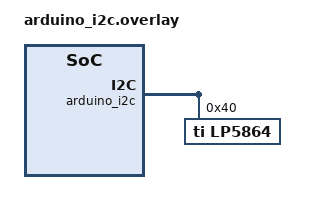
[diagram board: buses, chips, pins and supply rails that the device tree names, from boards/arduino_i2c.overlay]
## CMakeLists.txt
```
# SPDX-License-Identifier: Apache-2.0

cmake_minimum_required(VERSION 3.28.0)

find_package(Zephyr REQUIRED HINTS $ENV{ZEPHYR_BASE})
project(led_lp586x)

target_sources(app PRIVATE src/main.c)
```

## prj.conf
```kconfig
CONFIG_LOG=y
CONFIG_LED=y

CONFIG_SHELL=y
CONFIG_LED_SHELL=y
CONFIG_I2C_SHELL=y
```

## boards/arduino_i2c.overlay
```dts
/*
 * SPDX-FileCopyrightText: Copyright (c) 2026 Draeger
 *
 * SPDX-License-Identifier: Apache-2.0
 */

/*
 * Example overlay for an LP5864 (4 scan lines × 18 sinks, 72 LED dots)
 * connected to the Arduino-compatible I2C bus.
 *
 * The LP586x I2C address depends on hardware ADDR pin configuration.
 * The 7-bit address format is [CA4:CA0][RA9:RA8] where CA[4:0] is set by
 * the ADDR pins and RA[9:8] selects the register page (00 for page 0).
 * Adjust the 'reg' value to match your hardware wiring.
 *
 * This example uses reg = <0x40>, corresponding to CA[4:0] = 0b10000.
 */

#include <zephyr/dt-bindings/led/led.h>

&arduino_i2c {
	lp5864@40 {
		compatible = "ti,lp5864";
		reg = <0x40>;

		led_0 {
			label = "LED LP5864 0";
			index = <0>;
			color-mapping = <LED_COLOR_ID_WHITE>;
		};

		led_1 {
			label = "LED LP5864 1";
			index = <1>;
			color-mapping = <LED_COLOR_ID_WHITE>;
		};

		led_2 {
			label = "LED LP5864 2";
			index = <2>;
			color-mapping = <LED_COLOR_ID_WHITE>;
		};

		led_3 {
			label = "LED LP5864 3";
			index = <3>;
			color-mapping = <LED_COLOR_ID_WHITE>;
		};

		led_4 {
			label = "LED LP5864 4";
			index = <18>;
			color-mapping = <LED_COLOR_ID_WHITE>;
		};

		led_5 {
			label = "LED LP5864 5";
			index = <19>;
			color-mapping = <LED_COLOR_ID_WHITE>;
		};
	};
};
```

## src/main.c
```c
/*
 * SPDX-FileCopyrightText: Copyright (c) 2026 Draeger
 *
 * SPDX-License-Identifier: Apache-2.0
 */

#include <errno.h>
#include <zephyr/device.h>
#include <zephyr/devicetree.h>
#include <zephyr/drivers/led.h>
#include <zephyr/kernel.h>
#include <zephyr/sys/util.h>

#define LOG_LEVEL CONFIG_LOG_DEFAULT_LEVEL
#include <zephyr/logging/log.h>
LOG_MODULE_REGISTER(main);

#define SLEEP_DELAY_MS 500
#define FADE_DELAY_MS  2

#define SLEEP_DELAY K_MSEC(SLEEP_DELAY_MS)
#define FADE_DELAY  K_MSEC(FADE_DELAY_MS)

#define MAX_CHANNELS_LP5860 (11 * 18)
#define MAX_CHANNELS_LP5861 (1 * 18)
#define MAX_CHANNELS_LP5862 (1 * 18)
#define MAX_CHANNELS_LP5864 (4 * 18)
#define MAX_CHANNELS_LP5866 (6 * 18)
#define MAX_CHANNELS_LP5868 (8 * 18)

/*
 * Fade all LED dots simultaneously using write_channels.
 *
 * The channel values written via led_write_channels map directly to the 8-bit
 * PWM brightness registers.
 */
static int run_channel_test(const struct device *dev, uint8_t num_leds)
{
	/* Static buffer sized for the largest LP586x variant (LP5860, 198 dots) */
	static uint8_t buf[MAX_CHANNELS_LP5860];
	int err;

	LOG_INF("Channel test: fading %d LED dots together", num_leds);

	for (int level = 0; level <= 0xFF; level++) {
		memset(buf, (uint8_t)level, num_leds);
		err = led_write_channels(dev, 0, num_leds, buf);
		if (err < 0) {
			LOG_ERR("Failed to write channels, err=%d", err);
			return err;
		}
		k_sleep(FADE_DELAY);
	}
	k_sleep(SLEEP_DELAY);

	memset(buf, 0, num_leds);
	err = led_write_channels(dev, 0, num_leds, buf);
	if (err < 0) {
		LOG_ERR("Failed to clear channels, err=%d", err);
		return err;
	}
	k_sleep(SLEEP_DELAY);

	return 0;
}

/*
 * Fade a single configured LED node using the LED API (set_brightness).
 */
static int run_set_brightness_test(const struct device *dev, uint8_t led)
{
	const struct led_info *info;
	int err;

	led_get_info(dev, led, &info);
	if (info->num_colors > 1) {
		LOG_INF("LED test: not fading multi-color LED %d via set_brightness", led);
		return 0;
	}

	LOG_INF("LED test: fading LED %d", led);

	for (int level = 0; level <= LED_BRIGHTNESS_MAX; level++) {
		err = led_set_brightness(dev, led, (uint8_t)level);
		if (err < 0) {
			LOG_ERR("Failed to set brightness %d on LED %d, err=%d", level, led, err);
			return err;
		}
		k_sleep(FADE_DELAY);
	}
	k_sleep(SLEEP_DELAY);

	err = led_off(dev, led);
	if (err < 0) {
		LOG_ERR("Failed to turn LED %d off, err=%d", led, err);
		return err;
	}
	k_sleep(SLEEP_DELAY);

	return 0;
}

/*
 * Fade a single configured multi-color LED node using the LED API (set_color).
 */
static int run_set_color_test(const struct device *dev, uint8_t led)
{
	const struct led_info *info;
	int err;

	led_get_info(dev, led, &info);

	if (info->num_colors == 1) {
		LOG_INF("LED test: not fading monochromatic LED %d via set_color", led);
		return 0;
	}

	uint8_t colors[info->num_colors];

	memset(colors, 0, info->num_colors);

	for (uint8_t color = 0; color < info->num_colors; color++) {
		LOG_INF("LED test: fading multi-color LED %d color %d", led, color);
		for (int level = 0; level <= 0xFF; level++) {
			colors[color] = (uint8_t)level;
			err = led_set_color(dev, led, info->num_colors, colors);
			if (err < 0) {
				LOG_ERR("Failed to set color %d to %d on LED %d, err=%d", color,
					level, led, err);
				return err;
			}
			k_sleep(FADE_DELAY);
		}
		memset(colors, 0, info->num_colors);
		k_sleep(SLEEP_DELAY);
	}

	memset(colors, 0, info->num_colors);
	err = led_set_color(dev, led, info->num_colors, colors);
	if (err < 0) {
		LOG_ERR("Failed to turn multi-color LED %d off, err=%d", led, err);
		return err;
	}

	k_sleep(SLEEP_DELAY);

	return 0;
}

static int run_test(const struct device *dev, uint8_t max_channels)
{
	uint8_t led;
	uint8_t num_leds = 0;
	int err;

	/* Print information for each configured LED node */
	for (led = 0; led < max_channels; led++) {
		const struct led_info *info;
		int col;

		err = led_get_info(dev, led, &info);
		if (err < 0) {
			break;
		}

		printk("Found LED %d", led);
		if (info->label) {
			printk(" - %s", info->label);
		}
		printk(" - index:%d - %d color(s)", info->index, info->num_colors);
		if (info->color_mapping) {
			printk(" - %d", info->color_mapping[0]);
			for (col = 1; col < info->num_colors; col++) {
				printk(":%d", info->color_mapping[col]);
			}
		}
		printk("\n");
		num_leds++;
	}

	if (!num_leds) {
		LOG_ERR("No LED nodes found");
		return 0;
	}

	do {
		err = run_channel_test(dev, max_channels);
		if (err) {
			return 0;
		}
		for (led = 0; led < num_leds; led++) {
			err = run_set_brightness_test(dev, led);
			if (err) {
				return 0;
			}
		}
		for (led = 0; led < num_leds; led++) {
			err = run_set_color_test(dev, led);
			if (err) {
				return 0;
			}
		}
	} while (true);

	return 0;
}

int main(void)
{
	const struct device *lp586x_dev;
	int max_channels = MAX_CHANNELS_LP5860;

	k_sleep(K_MSEC(3000));

	lp586x_dev = DEVICE_DT_GET_ANY(ti_lp5860);
	if (!lp586x_dev) {
		lp586x_dev = DEVICE_DT_GET_ANY(ti_lp5861);
		max_channels = MAX_CHANNELS_LP5861;
	}
	if (!lp586x_dev) {
		lp586x_dev = DEVICE_DT_GET_ANY(ti_lp5862);
		max_channels = MAX_CHANNELS_LP5862;
	}
	if (!lp586x_dev) {
		lp586x_dev = DEVICE_DT_GET_ANY(ti_lp5864);
		max_channels = MAX_CHANNELS_LP5864;
	}
	if (!lp586x_dev) {
		lp586x_dev = DEVICE_DT_GET_ANY(ti_lp5866);
		max_channels = MAX_CHANNELS_LP5866;
	}
	if (!lp586x_dev) {
		lp586x_dev = DEVICE_DT_GET_ANY(ti_lp5868);
		max_channels = MAX_CHANNELS_LP5868;
	}
	if (!lp586x_dev) {
		LOG_ERR("No LP586x LED matrix controller found");
		return -ENODEV;
	}

	LOG_INF("Found %s", lp586x_dev->name);
	if (device_is_ready(lp586x_dev)) {
		run_test(lp586x_dev, max_channels);
	} else {
		LOG_ERR_DEVICE_NOT_READY(lp586x_dev);
		return -ENODEV;
	}

	return 0;
}
```
